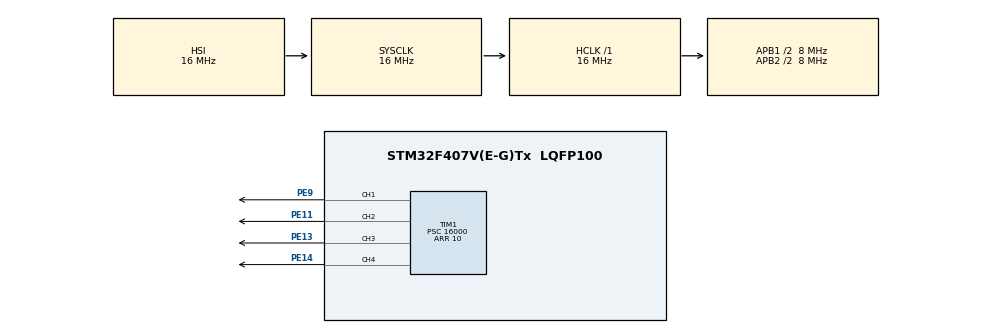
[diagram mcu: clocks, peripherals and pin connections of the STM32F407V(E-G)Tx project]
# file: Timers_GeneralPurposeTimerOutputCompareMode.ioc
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Mcu.Family=STM32F4
Mcu.Name=STM32F407V(E-G)Tx
Mcu.Package=LQFP100
NVIC.PriorityGroup=NVIC_PRIORITYGROUP_0
NVIC.TIM1_CC_IRQn=true\:0\:0\:false\:false\:true\:true\:true
PA10.GPIO_Label=OTG_FS_ID
PA10.GPIO_Mode=GPIO_MODE_AF_PP
PA10.GPIO_PuPd=GPIO_NOPULL
PA10.GPIO_Speed=GPIO_SPEED_FREQ_LOW
PA10.Signal=USB_OTG_FS_ID
PA11.GPIO_Label=OTG_FS_DM
PA11.GPIO_Mode=GPIO_MODE_AF_PP
PA11.GPIO_PuPd=GPIO_NOPULL
PA11.GPIO_Speed=GPIO_SPEED_FREQ_LOW
PA11.Signal=USB_OTG_FS_DM
PA12.GPIO_Label=OTG_FS_DP
PA12.GPIO_Mode=GPIO_MODE_AF_PP
PA12.GPIO_PuPd=GPIO_NOPULL
PA12.GPIO_Speed=GPIO_SPEED_FREQ_LOW
PA12.Signal=USB_OTG_FS_DP
PA13.GPIO_Label=SWDIO
PA13.Signal=SYS_JTMS-SWDIO
PA14.GPIO_Label=SWCLK
PA14.Signal=SYS_JTCK-SWCLK
PA4.GPIO_Label=I2S3_WS [CS43L22_LRCK]
PA4.GPIO_Mode=GPIO_MODE_AF_PP
PA4.GPIO_PuPd=GPIO_NOPULL
PA4.GPIO_Speed=GPIO_SPEED_FREQ_LOW
PA4.Signal=I2S3_WS
PA5.GPIO_Label=SPI1_SCK [LIS302DL_SCL/SPC]
PA5.GPIO_Mode=GPIO_MODE_AF_PP
PA5.GPIO_PuPd=GPIO_NOPULL
PA5.GPIO_Speed=GPIO_SPEED_FREQ_LOW
PA5.Signal=SPI1_SCK
PA6.GPIO_Label=SPI1_MISO [LIS302DL_SDO]
PA6.GPIO_Mode=GPIO_MODE_AF_PP
PA6.GPIO_PuPd=GPIO_NOPULL
PA6.GPIO_Speed=GPIO_SPEED_FREQ_LOW
PA6.Signal=SPI1_MISO
PA7.GPIO_Label=SPI1_MOSI [LIS302DL_SDA/SDI/SDO]
PA7.GPIO_Mode=GPIO_MODE_AF_PP
PA7.GPIO_PuPd=GPIO_NOPULL
PA7.GPIO_Speed=GPIO_SPEED_FREQ_LOW
PA7.Signal=SPI1_MOSI
PA9.GPIO_Label=VBUS_FS
PA9.GPIO_Mode=GPIO_MODE_INPUT
PA9.GPIO_PuPd=GPIO_NOPULL
PA9.Signal=USB_OTG_FS_VBUS
PB10.GPIO_Label=CLK_IN [MP45DT02_CLK]
PB10.GPIO_Mode=GPIO_MODE_AF_PP
PB10.GPIO_PuPd=GPIO_NOPULL
PB10.GPIO_Speed=GPIO_SPEED_FREQ_LOW
PB10.Signal=I2S2_CK
PB3.GPIO_Label=SWO
PB3.Signal=SYS_JTDO-SWO
PB6.GPIO_Label=Audio_SCL [CS43L22_SCL]
PB6.GPIO_Mode=GPIO_MODE_AF_OD
PB6.GPIO_PuPd=GPIO_NOPULL
PB6.GPIO_Speed=GPIO_SPEED_FREQ_LOW
PB6.Signal=I2C1_SCL
PB9.GPIO_Label=Audio_SDA [CS43L22_SDA]
PB9.GPIO_Mode=GPIO_MODE_AF_OD
PB9.GPIO_PuPd=GPIO_NOPULL
PB9.GPIO_Speed=GPIO_SPEED_FREQ_LOW
PB9.Signal=I2C1_SDA
PC10.GPIO_Label=I2S3_SCK [CS43L22_SCLK]
PC10.GPIO_Mode=GPIO_MODE_AF_PP
PC10.GPIO_PuPd=GPIO_NOPULL
PC10.GPIO_Speed=GPIO_SPEED_FREQ_LOW
PC10.Signal=I2S3_CK
PC12.GPIO_Label=I2S3_SD [CS43L22_SDIN]
PC12.GPIO_Mode=GPIO_MODE_AF_PP
PC12.GPIO_PuPd=GPIO_NOPULL
PC12.GPIO_Speed=GPIO_SPEED_FREQ_LOW
PC12.Signal=I2S3_SD
PC14-OSC32_IN.GPIO_Label=PC14-OSC32_IN
PC14-OSC32_IN.Signal=RCC_OSC32_IN
PC15-OSC32_OUT.GPIO_Label=PC15-OSC32_OUT
PC15-OSC32_OUT.Signal=RCC_OSC32_OUT
PC3.GPIO_Label=PDM_OUT [MP45DT02_DOUT]
PC3.GPIO_Mode=GPIO_MODE_AF_PP
PC3.GPIO_PuPd=GPIO_NOPULL
PC3.GPIO_Speed=GPIO_SPEED_FREQ_LOW
PC3.Signal=I2S2_SD
PC7.GPIO_Label=I2S3_MCK [CS43L22_MCLK]
PC7.GPIO_Mode=GPIO_MODE_AF_PP
PC7.GPIO_PuPd=GPIO_NOPULL
PC7.GPIO_Speed=GPIO_SPEED_FREQ_LOW
PC7.Signal=I2S3_MCK
PE11.Signal=S_TIM1_CH2
PE13.Signal=S_TIM1_CH3
PE14.Signal=S_TIM1_CH4
PE9.Signal=S_TIM1_CH1
PH0-OSC_IN.GPIO_Label=PH0-OSC_IN
PH0-OSC_IN.Signal=RCC_OSC_IN
PH1-OSC_OUT.GPIO_Label=PH1-OSC_OUT
PH1-OSC_OUT.Signal=RCC_OSC_OUT
ProjectManager.HeapSize=0x200
ProjectManager.StackSize=0x400
ProjectManager.TargetToolchain=STM32CubeIDE
RCC.48MHZClocksFreq_Value=14285714.285714285
RCC.AHBFreq_Value=16000000
RCC.APB1CLKDivider=RCC_HCLK_DIV2
RCC.APB1Freq_Value=8000000
RCC.APB1TimFreq_Value=16000000
RCC.APB2CLKDivider=RCC_HCLK_DIV2
RCC.APB2Freq_Value=8000000
RCC.APB2TimFreq_Value=16000000
RCC.CortexFreq_Value=16000000
RCC.HCLKFreq_Value=16000000
RCC.HSE_VALUE=8000000
RCC.HSI_VALUE=16000000
RCC.LSE_VALUE=32768
RCC.PLLM=8
RCC.PLLN=50
RCC.PLLP=RCC_PLLP_DIV4
RCC.PLLQ=7
RCC.SYSCLKFreq_VALUE=16000000
RCC.VCOOutputFreq_Value=100000000
SH.S_TIM1_CH1.0=TIM1_CH1,Output Compare1 CH1
SH.S_TIM1_CH2.0=TIM1_CH2,Output Compare2 CH2
SH.S_TIM1_CH3.0=TIM1_CH3,Output Compare3 CH3
SH.S_TIM1_CH4.0=TIM1_CH4,Output Compare4 CH4
TIM1.Channel-Output\ Compare1\ CH1=TIM_CHANNEL_1
TIM1.Channel-Output\ Compare2\ CH2=TIM_CHANNEL_2
TIM1.Channel-Output\ Compare3\ CH3=TIM_CHANNEL_3
TIM1.Channel-Output\ Compare4\ CH4=TIM_CHANNEL_4
TIM1.OCMode_1=TIM_OCMODE_TOGGLE
TIM1.OCMode_2=TIM_OCMODE_TOGGLE
TIM1.OCMode_3=TIM_OCMODE_TOGGLE
TIM1.OCMode_4=TIM_OCMODE_TOGGLE
TIM1.Period=10
TIM1.Prescaler=16000
TIM1.Pulse-Output\ Compare1\ CH1=2
TIM1.Pulse-Output\ Compare2\ CH2=5
TIM1.Pulse-Output\ Compare3\ CH3=7
TIM1.Pulse-Output\ Compare4\ CH4=10
VP_TIM1_VS_ClockSourceINT.Mode=Internal
board=STM32F407G-DISC1

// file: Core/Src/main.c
/* USER CODE BEGIN Header */
/**
  ******************************************************************************
  * @file           : main.c
  * @brief          : Main program body
  ******************************************************************************
  * @attention
  *
  * <h2><center>&copy; Copyright (c) 2020 STMicroelectronics.
  * All rights reserved.</center></h2>
  *
  * This software component is licensed by ST under BSD 3-Clause license,
  * the "License"; You may not use this file except in compliance with the
  * License. You may obtain a copy of the License at:
  *                        opensource.org/licenses/BSD-3-Clause
  *
  ******************************************************************************
  */
/* USER CODE END Header */
#include "main.h"

TIM_HandleTypeDef htim1;

/* USER CODE BEGIN PV */
uint32_t CCR1_match = 0;
uint32_t CCR2_match = 0;
uint32_t CCR3_match = 0;
uint32_t CCR4_match = 0;
/* USER CODE END PV */

void SystemClock_Config(void);
static void MX_GPIO_Init(void);
static void MX_TIM1_Init(void);

int main(void)
{

  /* MCU Configuration--------------------------------------------------------*/

  /* Reset of all peripherals, Initializes the Flash interface and the Systick. */
  HAL_Init();

  /* Configure the system clock */
  SystemClock_Config();

  /* Initialize all configured peripherals */
  MX_GPIO_Init();
  MX_TIM1_Init();
  /* USER CODE BEGIN 2 */
  HAL_TIM_OC_Start_IT(&htim1, TIM_CHANNEL_1);
  HAL_TIM_OC_Start_IT(&htim1, TIM_CHANNEL_2);
  HAL_TIM_OC_Start_IT(&htim1, TIM_CHANNEL_3);
  HAL_TIM_OC_Start_IT(&htim1, TIM_CHANNEL_4);
  /* USER CODE END 2 */

  /* Infinite loop */
  while (1)
  {

  }
}

void SystemClock_Config(void)
{
  RCC_OscInitTypeDef RCC_OscInitStruct = {0};
  RCC_ClkInitTypeDef RCC_ClkInitStruct = {0};

  /** Configure the main internal regulator output voltage
  */
  __HAL_RCC_PWR_CLK_ENABLE();
  __HAL_PWR_VOLTAGESCALING_CONFIG(PWR_REGULATOR_VOLTAGE_SCALE1);
  /** Initializes the RCC Oscillators according to the specified parameters
  * in the RCC_OscInitTypeDef structure.
  */
  RCC_OscInitStruct.OscillatorType = RCC_OSCILLATORTYPE_HSI;
  RCC_OscInitStruct.HSIState = RCC_HSI_ON;
  RCC_OscInitStruct.HSICalibrationValue = RCC_HSICALIBRATION_DEFAULT;
  RCC_OscInitStruct.PLL.PLLState = RCC_PLL_NONE;
  if (HAL_RCC_OscConfig(&RCC_OscInitStruct) != HAL_OK)
  {
    Error_Handler();
  }
  /** Initializes the CPU, AHB and APB buses clocks
  */
  RCC_ClkInitStruct.ClockType = RCC_CLOCKTYPE_HCLK|RCC_CLOCKTYPE_SYSCLK
                              |RCC_CLOCKTYPE_PCLK1|RCC_CLOCKTYPE_PCLK2;
  RCC_ClkInitStruct.SYSCLKSource = RCC_SYSCLKSOURCE_HSI;
  RCC_ClkInitStruct.AHBCLKDivider = RCC_SYSCLK_DIV1;
  RCC_ClkInitStruct.APB1CLKDivider = RCC_HCLK_DIV2;
  RCC_ClkInitStruct.APB2CLKDivider = RCC_HCLK_DIV2;

  if (HAL_RCC_ClockConfig(&RCC_ClkInitStruct, FLASH_LATENCY_0) != HAL_OK)
  {
    Error_Handler();
  }
}

static void MX_TIM1_Init(void)
{

  TIM_ClockConfigTypeDef sClockSourceConfig = {0};
  TIM_MasterConfigTypeDef sMasterConfig = {0};
  TIM_OC_InitTypeDef sConfigOC = {0};
  TIM_BreakDeadTimeConfigTypeDef sBreakDeadTimeConfig = {0};

  htim1.Instance = TIM1;
  htim1.Init.Prescaler = 16000;
  htim1.Init.CounterMode = TIM_COUNTERMODE_UP;
  htim1.Init.Period = 10;
  htim1.Init.ClockDivision = TIM_CLOCKDIVISION_DIV1;
  htim1.Init.RepetitionCounter = 0;
  htim1.Init.AutoReloadPreload = TIM_AUTORELOAD_PRELOAD_DISABLE;
  if (HAL_TIM_Base_Init(&htim1) != HAL_OK)
  {
    Error_Handler();
  }
  sClockSourceConfig.ClockSource = TIM_CLOCKSOURCE_INTERNAL;
  if (HAL_TIM_ConfigClockSource(&htim1, &sClockSourceConfig) != HAL_OK)
  {
    Error_Handler();
  }
  if (HAL_TIM_OC_Init(&htim1) != HAL_OK)
  {
    Error_Handler();
  }
  sMasterConfig.MasterOutputTrigger = TIM_TRGO_RESET;
  sMasterConfig.MasterSlaveMode = TIM_MASTERSLAVEMODE_DISABLE;
  if (HAL_TIMEx_MasterConfigSynchronization(&htim1, &sMasterConfig) != HAL_OK)
  {
    Error_Handler();
  }
  sConfigOC.OCMode = TIM_OCMODE_TOGGLE;
  sConfigOC.Pulse = 2;
  sConfigOC.OCPolarity = TIM_OCPOLARITY_HIGH;
  sConfigOC.OCNPolarity = TIM_OCNPOLARITY_HIGH;
  sConfigOC.OCFastMode = TIM_OCFAST_DISABLE;
  sConfigOC.OCIdleState = TIM_OCIDLESTATE_RESET;
  sConfigOC.OCNIdleState = TIM_OCNIDLESTATE_RESET;
  if (HAL_TIM_OC_ConfigChannel(&htim1, &sConfigOC, TIM_CHANNEL_1) != HAL_OK)
  {
    Error_Handler();
  }
  sConfigOC.Pulse = 5;
  if (HAL_TIM_OC_ConfigChannel(&htim1, &sConfigOC, TIM_CHANNEL_2) != HAL_OK)
  {
    Error_Handler();
  }
  sConfigOC.Pulse = 7;
  if (HAL_TIM_OC_ConfigChannel(&htim1, &sConfigOC, TIM_CHANNEL_3) != HAL_OK)
  {
    Error_Handler();
  }
  sConfigOC.Pulse = 10;
  if (HAL_TIM_OC_ConfigChannel(&htim1, &sConfigOC, TIM_CHANNEL_4) != HAL_OK)
  {
    Error_Handler();
  }
  sBreakDeadTimeConfig.OffStateRunMode = TIM_OSSR_DISABLE;
  sBreakDeadTimeConfig.OffStateIDLEMode = TIM_OSSI_DISABLE;
  sBreakDeadTimeConfig.LockLevel = TIM_LOCKLEVEL_OFF;
  sBreakDeadTimeConfig.DeadTime = 0;
  sBreakDeadTimeConfig.BreakState = TIM_BREAK_DISABLE;
  sBreakDeadTimeConfig.BreakPolarity = TIM_BREAKPOLARITY_HIGH;
  sBreakDeadTimeConfig.AutomaticOutput = TIM_AUTOMATICOUTPUT_DISABLE;
  if (HAL_TIMEx_ConfigBreakDeadTime(&htim1, &sBreakDeadTimeConfig) != HAL_OK)
  {
    Error_Handler();
  }
  HAL_TIM_MspPostInit(&htim1);

}

static void MX_GPIO_Init(void)
{
  GPIO_InitTypeDef GPIO_InitStruct = {0};

  /* GPIO Ports Clock Enable */
  __HAL_RCC_GPIOC_CLK_ENABLE();
  __HAL_RCC_GPIOH_CLK_ENABLE();
  __HAL_RCC_GPIOA_CLK_ENABLE();
  __HAL_RCC_GPIOE_CLK_ENABLE();
  __HAL_RCC_GPIOB_CLK_ENABLE();

  /*Configure GPIO pin : PDM_OUT_Pin */
  GPIO_InitStruct.Pin = PDM_OUT_Pin;
  GPIO_InitStruct.Mode = GPIO_MODE_AF_PP;
  GPIO_InitStruct.Pull = GPIO_NOPULL;
  GPIO_InitStruct.Speed = GPIO_SPEED_FREQ_LOW;
  GPIO_InitStruct.Alternate = GPIO_AF5_SPI2;
  HAL_GPIO_Init(PDM_OUT_GPIO_Port, &GPIO_InitStruct);

  /*Configure GPIO pin : I2S3_WS_Pin */
  GPIO_InitStruct.Pin = I2S3_WS_Pin;
  GPIO_InitStruct.Mode = GPIO_MODE_AF_PP;
  GPIO_InitStruct.Pull = GPIO_NOPULL;
  GPIO_InitStruct.Speed = GPIO_SPEED_FREQ_LOW;
  GPIO_InitStruct.Alternate = GPIO_AF6_SPI3;
  HAL_GPIO_Init(I2S3_WS_GPIO_Port, &GPIO_InitStruct);

  /*Configure GPIO pins : SPI1_SCK_Pin SPI1_MISO_Pin SPI1_MOSI_Pin */
  GPIO_InitStruct.Pin = SPI1_SCK_Pin|SPI1_MISO_Pin|SPI1_MOSI_Pin;
  GPIO_InitStruct.Mode = GPIO_MODE_AF_PP;
  GPIO_InitStruct.Pull = GPIO_NOPULL;
  GPIO_InitStruct.Speed = GPIO_SPEED_FREQ_LOW;
  GPIO_InitStruct.Alternate = GPIO_AF5_SPI1;
  HAL_GPIO_Init(GPIOA, &GPIO_InitStruct);

  /*Configure GPIO pin : CLK_IN_Pin */
  GPIO_InitStruct.Pin = CLK_IN_Pin;
  GPIO_InitStruct.Mode = GPIO_MODE_AF_PP;
  GPIO_InitStruct.Pull = GPIO_NOPULL;
  GPIO_InitStruct.Speed = GPIO_SPEED_FREQ_LOW;
  GPIO_InitStruct.Alternate = GPIO_AF5_SPI2;
  HAL_GPIO_Init(CLK_IN_GPIO_Port, &GPIO_InitStruct);

  /*Configure GPIO pins : I2S3_MCK_Pin I2S3_SCK_Pin I2S3_SD_Pin */
  GPIO_InitStruct.Pin = I2S3_MCK_Pin|I2S3_SCK_Pin|I2S3_SD_Pin;
  GPIO_InitStruct.Mode = GPIO_MODE_AF_PP;
  GPIO_InitStruct.Pull = GPIO_NOPULL;
  GPIO_InitStruct.Speed = GPIO_SPEED_FREQ_LOW;
  GPIO_InitStruct.Alternate = GPIO_AF6_SPI3;
  HAL_GPIO_Init(GPIOC, &GPIO_InitStruct);

  /*Configure GPIO pin : VBUS_FS_Pin */
  GPIO_InitStruct.Pin = VBUS_FS_Pin;
  GPIO_InitStruct.Mode = GPIO_MODE_INPUT;
  GPIO_InitStruct.Pull = GPIO_NOPULL;
  HAL_GPIO_Init(VBUS_FS_GPIO_Port, &GPIO_InitStruct);

  /*Configure GPIO pins : OTG_FS_ID_Pin OTG_FS_DM_Pin OTG_FS_DP_Pin */
  GPIO_InitStruct.Pin = OTG_FS_ID_Pin|OTG_FS_DM_Pin|OTG_FS_DP_Pin;
  GPIO_InitStruct.Mode = GPIO_MODE_AF_PP;
  GPIO_InitStruct.Pull = GPIO_NOPULL;
  GPIO_InitStruct.Speed = GPIO_SPEED_FREQ_LOW;
  GPIO_InitStruct.Alternate = GPIO_AF10_OTG_FS;
  HAL_GPIO_Init(GPIOA, &GPIO_InitStruct);

  /*Configure GPIO pins : Audio_SCL_Pin Audio_SDA_Pin */
  GPIO_InitStruct.Pin = Audio_SCL_Pin|Audio_SDA_Pin;
  GPIO_InitStruct.Mode = GPIO_MODE_AF_OD;
  GPIO_InitStruct.Pull = GPIO_PULLUP;
  GPIO_InitStruct.Speed = GPIO_SPEED_FREQ_LOW;
  GPIO_InitStruct.Alternate = GPIO_AF4_I2C1;
  HAL_GPIO_Init(GPIOB, &GPIO_InitStruct);

}

/* USER CODE BEGIN 4 */
void HAL_TIM_OC_DelayElapsedCallback(TIM_HandleTypeDef *htim) {
	if (htim->Channel == HAL_TIM_ACTIVE_CHANNEL_1) {
		CCR1_match+=10;
	}
	else if (htim->Channel == HAL_TIM_ACTIVE_CHANNEL_2) {
		CCR2_match+=100;
	}
	else if (htim->Channel == HAL_TIM_ACTIVE_CHANNEL_3) {
		CCR3_match+=1000;
	}
	else if (htim->Channel == HAL_TIM_ACTIVE_CHANNEL_4) {
		CCR4_match+=10000;
	}
}
/* USER CODE END 4 */

void Error_Handler(void)
{
}

/************************ (C) COPYRIGHT STMicroelectronics *****END OF FILE****/
